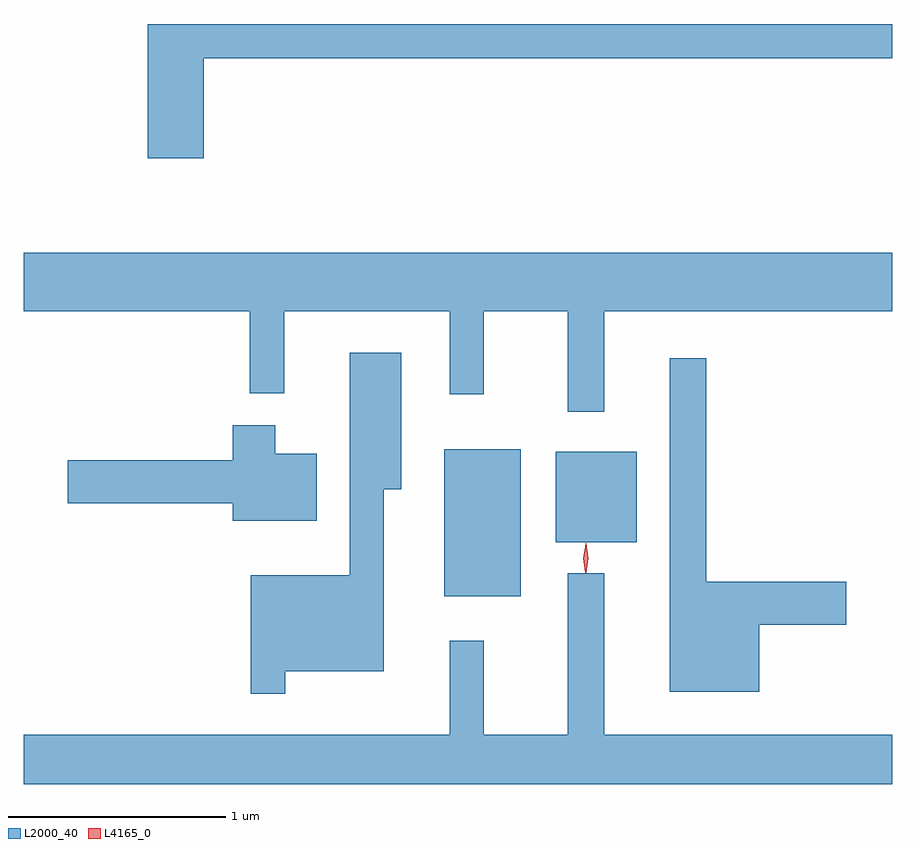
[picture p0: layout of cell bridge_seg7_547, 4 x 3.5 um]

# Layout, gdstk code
import gdstk
lib = gdstk.Library(unit=1e-6, precision=1e-09)
def R(c, l, rs):  # rectangles x0, y0, x1, y1
    for r in rs: c.add(gdstk.rectangle(r[:2], r[2:], *l))
def P(c, l, *ps):  # polygons
    for p in ps: c.add(gdstk.Polygon(p, *l))
L2000_40 = (2000, 40)
L4165_0 = (4165, 0)

bridge_seg7_547 = lib.new_cell('bridge_seg7_547')
R(bridge_seg7_547, L2000_40, [(981.791,1746.301,982.144,1746.979), (982.306,1746.551,982.679,1746.969)])
P(bridge_seg7_547, L2000_40, [(980.684,1748.781),(983.855,1748.781),(983.855,1748.939),(980.426,1748.939),(980.426,1748.321),(980.684,1748.321)],
  [(982.529,1747.616),(983.855,1747.616),(983.855,1747.884),(979.855,1747.884),(979.855,1747.616),(980.896,1747.616),(980.896,1747.238),(981.054,1747.238),(981.054,1747.616),(981.816,1747.616),(981.816,1747.233),(981.974,1747.233),(981.974,1747.616),(982.361,1747.616),(982.361,1747.153),(982.529,1747.153)],
  [(981.059,1745.956),(981.514,1745.956),(981.514,1746.796),(981.594,1746.796),(981.594,1747.424),(981.356,1747.424),(981.356,1746.399),(980.901,1746.399),(980.901,1745.853),(981.059,1745.853)],
  [(983.244,1746.171),(983.644,1746.171),(983.644,1746.369),(982.999,1746.369),(982.999,1747.398),(982.831,1747.398),(982.831,1745.861),(983.244,1745.861)],
  [(981.204,1746.959),(981.014,1746.959),(981.014,1747.089),(980.816,1747.089),(980.816,1746.929),(980.056,1746.929),(980.056,1746.731),(980.816,1746.731),(980.816,1746.651),(981.204,1746.651)],
  [(983.855,1745.664),(982.529,1745.664),(982.529,1746.408),(982.361,1746.408),(982.361,1745.664),(981.974,1745.664),(981.974,1746.098),(981.816,1746.098),(981.816,1745.664),(979.855,1745.664),(979.855,1745.437),(983.855,1745.437)])
P(bridge_seg7_547, L4165_0, [(982.445,1746.409),(982.444,1746.41),(982.435,1746.478),(982.444,1746.546),(982.445,1746.546),(982.445,1746.546),(982.455,1746.478),(982.445,1746.41)],
  [(982.442,1746.413),(982.442,1746.413),(982.433,1746.477),(982.443,1746.541),(982.444,1746.542),(982.444,1746.541),(982.453,1746.477),(982.443,1746.413)])

lib.write_gds('bridge_seg7_547.gds')
